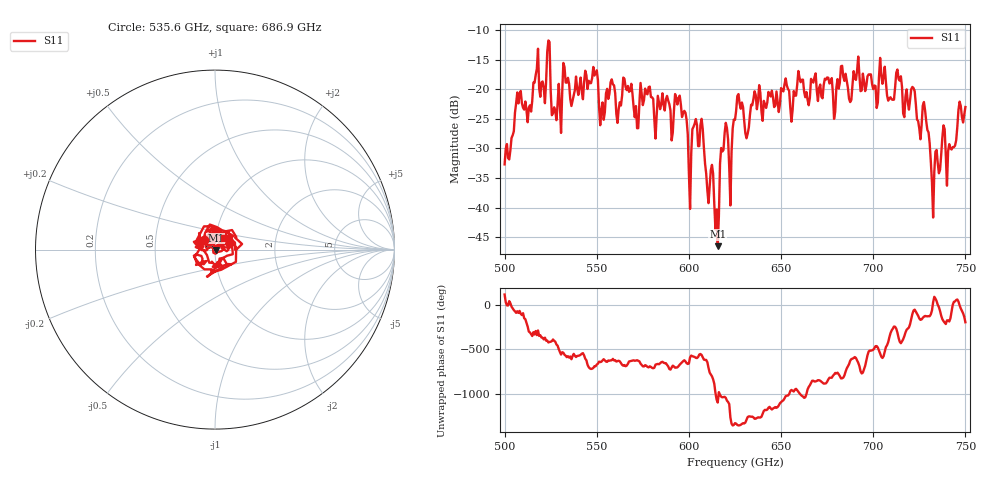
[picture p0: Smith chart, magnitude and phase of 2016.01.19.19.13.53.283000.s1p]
!Created with skrf (http://scikit-rf.org).
# GHz S RI R 50.0
!freq ReS11 ImS11
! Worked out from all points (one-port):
!   401 points, 500 GHz to 750 GHz, reference 50 ohm
!   lowest |S11| = -46.5 dB at 615.6 GHz (marker M1), VSWR 1.01, Z = 50.4 - j0.155 ohm
!   |S11| at or under -10 dB: start of sweep to end of sweep
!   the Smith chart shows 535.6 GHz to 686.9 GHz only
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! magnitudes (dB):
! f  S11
! 500 GHz  -32.7
! 516.9 GHz  -17.6
! 520.6 GHz  -18.7
! 523.8 GHz  -11.8
! 526.9 GHz  -23.1
! 531.2 GHz  -20.5
! 548.8 GHz  -17.7
! 552.5 GHz  -23.5
! 558.1 GHz  -18.3
! 562.5 GHz  -22.2
! 565.6 GHz  -19.6
! 571.2 GHz  -22.8
! 593.8 GHz  -22.6
! 600.6 GHz  -40.2
! 603.1 GHz  -25.8
! 606.9 GHz  -25.0
! 615.6 GHz  -46.5
! 618.8 GHz  -30.2
! 622.5 GHz  -39.6
! 625 GHz  -25.2
! 656.2 GHz  -23.5
! 660.6 GHz  -18.8
! 687.5 GHz  -22.2
! 705 GHz  -19.1
! 718.8 GHz  -22.2
! 728.1 GHz  -23.6
! 732.5 GHz  -41.6
! 750 GHz  -23.0
